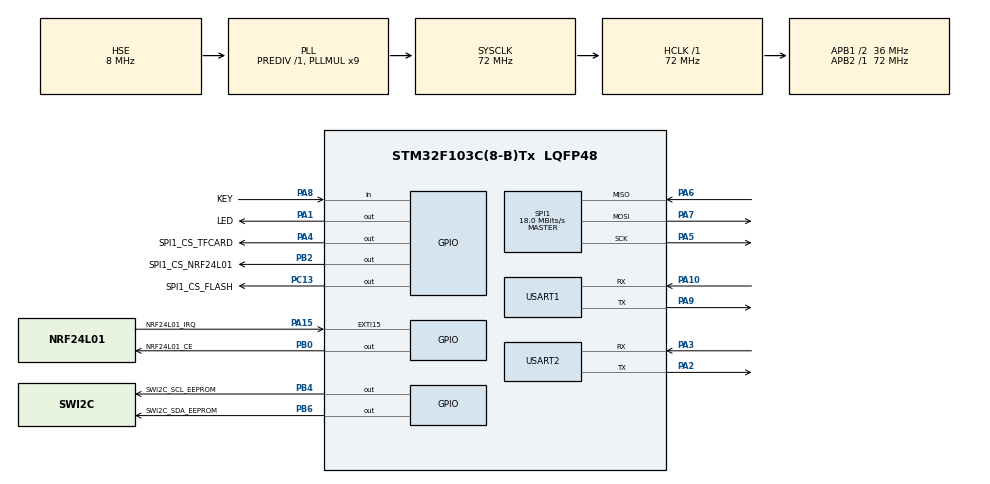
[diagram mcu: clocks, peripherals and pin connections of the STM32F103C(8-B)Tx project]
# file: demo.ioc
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Mcu.Family=STM32F1
Mcu.Name=STM32F103C(8-B)Tx
Mcu.Package=LQFP48
Mcu.UserConstants=UART_WIFI,huart2;UART_BLE,huart2
NVIC.PriorityGroup=NVIC_PRIORITYGROUP_4
NVIC.TIM4_IRQn=true\:0\:0\:false\:false\:true\:true\:true\:true
PA1.GPIO_Label=LED
PA1.GPIO_PuPd=GPIO_PULLUP
PA1.GPIO_Speed=GPIO_SPEED_FREQ_HIGH
PA1.Signal=GPIO_Output
PA10.Mode=Asynchronous
PA10.Signal=USART1_RX
PA13.Mode=Serial_Wire
PA13.Signal=SYS_JTMS-SWDIO
PA14.Mode=Serial_Wire
PA14.Signal=SYS_JTCK-SWCLK
PA15.GPIO_Label=NRF24L01_IRQ
PA15.GPIO_PuPd=GPIO_PULLUP
PA15.Signal=GPXTI15
PA2.Mode=Asynchronous
PA2.Signal=USART2_TX
PA3.Mode=Asynchronous
PA3.Signal=USART2_RX
PA4.GPIO_Label=SPI1_CS_TFCARD
PA4.GPIO_PuPd=GPIO_PULLUP
PA4.GPIO_Speed=GPIO_SPEED_FREQ_HIGH
PA4.Signal=GPIO_Output
PA5.Mode=Full_Duplex_Master
PA5.Signal=SPI1_SCK
PA6.Mode=Full_Duplex_Master
PA6.Signal=SPI1_MISO
PA7.Mode=Full_Duplex_Master
PA7.Signal=SPI1_MOSI
PA8.GPIO_Label=KEY
PA8.GPIO_PuPd=GPIO_PULLUP
PA8.Signal=GPIO_Input
PA9.Mode=Asynchronous
PA9.Signal=USART1_TX
PB0.GPIO_Label=NRF24L01_CE
PB0.GPIO_PuPd=GPIO_PULLUP
PB0.GPIO_Speed=GPIO_SPEED_FREQ_HIGH
PB0.Signal=GPIO_Output
PB2.GPIO_Label=SPI1_CS_NRF24L01
PB2.GPIO_PuPd=GPIO_PULLUP
PB2.GPIO_Speed=GPIO_SPEED_FREQ_HIGH
PB2.Signal=GPIO_Output
PB4.GPIO_Label=SWI2C_SCL_EEPROM
PB4.GPIO_ModeDefaultOutputPP=GPIO_MODE_OUTPUT_OD
PB4.GPIO_PuPd=GPIO_NOPULL
PB4.GPIO_Speed=GPIO_SPEED_FREQ_HIGH
PB4.Signal=GPIO_Output
PB6.GPIO_Label=SWI2C_SDA_EEPROM
PB6.GPIO_ModeDefaultOutputPP=GPIO_MODE_OUTPUT_OD
PB6.GPIO_PuPd=GPIO_NOPULL
PB6.GPIO_Speed=GPIO_SPEED_FREQ_HIGH
PB6.Signal=GPIO_Output
PC13-TAMPER-RTC.GPIO_Label=SPI1_CS_FLASH
PC13-TAMPER-RTC.GPIO_PuPd=GPIO_PULLUP
PC13-TAMPER-RTC.GPIO_Speed=GPIO_SPEED_FREQ_HIGH
PC13-TAMPER-RTC.Signal=GPIO_Output
PD0-OSC_IN.Mode=HSE-External-Oscillator
PD0-OSC_IN.Signal=RCC_OSC_IN
PD1-OSC_OUT.Mode=HSE-External-Oscillator
PD1-OSC_OUT.Signal=RCC_OSC_OUT
ProjectManager.HeapSize=0x800
ProjectManager.StackSize=0x800
ProjectManager.TargetToolchain=MDK-ARM V5
RCC.AHBFreq_Value=72000000
RCC.APB1CLKDivider=RCC_HCLK_DIV2
RCC.APB1Freq_Value=36000000
RCC.APB1TimFreq_Value=72000000
RCC.APB2Freq_Value=72000000
RCC.APB2TimFreq_Value=72000000
RCC.HCLKFreq_Value=72000000
RCC.PLLMUL=RCC_PLL_MUL9
RCC.PLLSourceVirtual=RCC_PLLSOURCE_HSE
RCC.SYSCLKFreq_VALUE=72000000
RCC.SYSCLKSource=RCC_SYSCLKSOURCE_PLLCLK
RCC.USBFreq_Value=48000000
RCC.USBPrescaler=RCC_USBCLKSOURCE_PLL_DIV1_5
SPI1.BaudRatePrescaler=SPI_BAUDRATEPRESCALER_4
SPI1.CalculateBaudRate=18.0 MBits/s
SPI1.Direction=SPI_DIRECTION_2LINES
SPI1.Mode=SPI_MODE_MASTER
SPI1.VirtualType=VM_MASTER
TIM4.Prescaler=100
USART1.VirtualMode=VM_ASYNC
USART2.VirtualMode=VM_ASYNC
VP_CRC_VS_CRC.Mode=CRC_Activate
VP_RTC_VS_RTC_Activate.Mode=RTC_Enabled
VP_TIM4_VS_ClockSourceINT.Mode=Internal
board=custom

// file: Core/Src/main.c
/* USER CODE BEGIN Header */
/**
 ******************************************************************************
 * @file           : main.c
 * @brief          : Main program body
 ******************************************************************************
 * @attention
 *
 * Copyright (c) 2024 STMicroelectronics.
 * All rights reserved.
 *
 * This software is licensed under terms that can be found in the LICENSE file
 * in the root directory of this software component.
 * If no LICENSE file comes with this software, it is provided AS-IS.
 *
 ******************************************************************************
 */
/* USER CODE END Header */
#include "main.h"
#include "crc.h"
#include "rtc.h"
#include "spi.h"
#include "tim.h"
#include "usart.h"
#include "gpio.h"

/* USER CODE BEGIN Includes */

#include "cm_backtrace.h"
#include "SEGGER_RTT.h"

#include "gsdk.h"
#include "hwif.h"
#include "pinmap.h"

#include "sfud.h"

/* USER CODE END Includes */

/* USER CODE BEGIN PD */
#define SFUD_DEMO_TEST_BUFFER_SIZE 1024

/* USER CODE END PD */

/* USER CODE BEGIN PV */
static uint8_t sfud_demo_test_buf[SFUD_DEMO_TEST_BUFFER_SIZE];

/* USER CODE END PV */

void SystemClock_Config(void);

/* USER CODE BEGIN 0 */

void HAL_TIM_PeriodElapsedCallback(TIM_HandleTypeDef* htim)
{
}

/**
 * SFUD demo for the first flash device test.
 *
 * @param addr flash start address
 * @param size test flash size
 * @param size test flash data buffer
 */
void sfud_demo(uint32_t addr, size_t size, uint8_t* data)
{
    sfud_err          result = SFUD_SUCCESS;
    const sfud_flash* flash  = sfud_get_device_table() + 0;
    size_t            i;
    /* prepare write data */
    for (i = 0; i < size; i++)
    {
        data[i] = i;
    }
    /* erase test */
    result = sfud_erase(flash, addr, size);
    if (result == SFUD_SUCCESS)
    {
        PRINTLN("Erase the %s flash data finish. Start from 0x%08X, size is %ld.", flash->name, addr, size);
    }
    else
    {
        PRINTLN("Erase the %s flash data failed.", flash->name);
        return;
    }
    /* write test */
    result = sfud_write(flash, addr, size, data);
    if (result == SFUD_SUCCESS)
    {
        PRINTLN("Write the %s flash data finish. Start from 0x%08X, size is %ld.", flash->name, addr, size);
    }
    else
    {
        PRINTLN("Write the %s flash data failed.", flash->name);
        return;
    }
    /* read test */
    result = sfud_read(flash, addr, size, data);
    if (result == SFUD_SUCCESS)
    {
        PRINTLN("Read the %s flash data success. Start from 0x%08X, size is %ld. The data is:", flash->name, addr, size);
        PRINTLN("Offset (h) 00 01 02 03 04 05 06 07 08 09 0A 0B 0C 0D 0E 0F");
        for (i = 0; i < size; i++)
        {
            if (i % 16 == 0)
            {
                printf("[%08X] ", addr + i);
            }
            printf("%02X ", data[i]);
            if (((i + 1) % 16 == 0) || i == size - 1)
            {
                PRINTLN();
            }
        }
        PRINTLN();
    }
    else
    {
        PRINTLN("Read the %s flash data failed.", flash->name);
    }
    /* data check */
    for (i = 0; i < size; i++)
    {
        if (data[i] != i % 256)
        {
            PRINTLN("Read and check write data has an error. Write the %s flash data failed.", flash->name);
            break;
        }
    }
    if (i == size)
    {
        PRINTLN("The %s flash test is success.", flash->name);
    }
}

void PINMUX_PC13_GPIO(void)
{
    hrtc.Instance          = RTC;
    hrtc.Init.AsynchPrediv = RTC_AUTO_1_SECOND;
    // hrtc.Init.OutPut = RTC_OUTPUTSOURCE_ALARM;
    hrtc.Init.OutPut       = RTC_OUTPUTSOURCE_NONE;  // PC13 as GPIO
    if (HAL_RTC_Init(&hrtc) != HAL_OK)
    {
        Error_Handler();
    }
}

/* USER CODE END 0 */

int main(void)
{
    /* USER CODE BEGIN 1 */
    cm_backtrace_init("demo", "stm32", "V0.01");
    SEGGER_RTT_Init();

    /* USER CODE END 1 */

    /* MCU Configuration--------------------------------------------------------*/

    /* Reset of all peripherals, Initializes the Flash interface and the Systick. */
    HAL_Init();

    /* Configure the system clock */
    SystemClock_Config();

    /* Initialize all configured peripherals */
    MX_GPIO_Init();
    MX_SPI1_Init();
    MX_USART1_UART_Init();
    MX_USART2_UART_Init();
    MX_CRC_Init();
    MX_TIM4_Init();
    MX_RTC_Init();
    /* USER CODE BEGIN 2 */

    DelayInit();
		PINMUX_PC13_GPIO();

    /* SFUD initialize */
    if (sfud_init() == SFUD_SUCCESS)
    {
        sfud_demo(0, sizeof(sfud_demo_test_buf), sfud_demo_test_buf);
    }

    /* USER CODE END 2 */

    /* Infinite loop */
    while (1)
    {

    }
}

void SystemClock_Config(void)
{
    RCC_OscInitTypeDef       RCC_OscInitStruct = {0};
    RCC_ClkInitTypeDef       RCC_ClkInitStruct = {0};
    RCC_PeriphCLKInitTypeDef PeriphClkInit     = {0};

    /** Initializes the RCC Oscillators according to the specified parameters
     * in the RCC_OscInitTypeDef structure.
     */
    RCC_OscInitStruct.OscillatorType = RCC_OSCILLATORTYPE_LSI | RCC_OSCILLATORTYPE_HSE;
    RCC_OscInitStruct.HSEState       = RCC_HSE_ON;
    RCC_OscInitStruct.HSEPredivValue = RCC_HSE_PREDIV_DIV1;
    RCC_OscInitStruct.HSIState       = RCC_HSI_ON;
    RCC_OscInitStruct.LSIState       = RCC_LSI_ON;
    RCC_OscInitStruct.PLL.PLLState   = RCC_PLL_ON;
    RCC_OscInitStruct.PLL.PLLSource  = RCC_PLLSOURCE_HSE;
    RCC_OscInitStruct.PLL.PLLMUL     = RCC_PLL_MUL9;
    if (HAL_RCC_OscConfig(&RCC_OscInitStruct) != HAL_OK)
    {
        Error_Handler();
    }

    /** Initializes the CPU, AHB and APB buses clocks
     */
    RCC_ClkInitStruct.ClockType      = RCC_CLOCKTYPE_HCLK | RCC_CLOCKTYPE_SYSCLK | RCC_CLOCKTYPE_PCLK1 | RCC_CLOCKTYPE_PCLK2;
    RCC_ClkInitStruct.SYSCLKSource   = RCC_SYSCLKSOURCE_PLLCLK;
    RCC_ClkInitStruct.AHBCLKDivider  = RCC_SYSCLK_DIV1;
    RCC_ClkInitStruct.APB1CLKDivider = RCC_HCLK_DIV2;
    RCC_ClkInitStruct.APB2CLKDivider = RCC_HCLK_DIV1;

    if (HAL_RCC_ClockConfig(&RCC_ClkInitStruct, FLASH_LATENCY_2) != HAL_OK)
    {
        Error_Handler();
    }
    PeriphClkInit.PeriphClockSelection = RCC_PERIPHCLK_RTC;
    PeriphClkInit.RTCClockSelection    = RCC_RTCCLKSOURCE_LSI;
    if (HAL_RCCEx_PeriphCLKConfig(&PeriphClkInit) != HAL_OK)
    {
        Error_Handler();
    }
}

void Error_Handler(void)
{
    __disable_irq();
    while (1)
    {
    }
}
